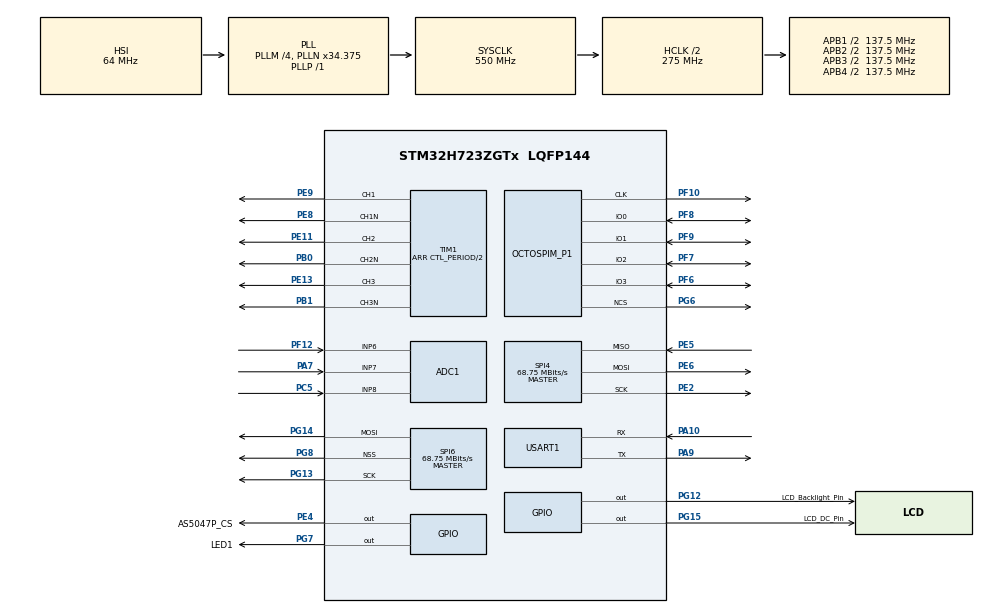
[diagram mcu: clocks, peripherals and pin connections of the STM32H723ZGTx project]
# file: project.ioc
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ADC1.Channel-0\#ChannelRegularConversion=ADC_CHANNEL_6
ADC1.ClockPrescaler=ADC_CLOCK_ASYNC_DIV1
ADC1.EnableInjectedConversion=ENABLE
ADC1.ExternalTrigInjecConv=ADC_EXTERNALTRIGINJEC_T1_CC4
ADC1.ExternalTrigInjecConvEdge=ADC_EXTERNALTRIGINJECCONV_EDGE_FALLING
ADC1.InjNumberOfConversion=3
ADC1.InjectedChannel-1\#ChannelInjectedConversion=ADC_CHANNEL_6
ADC1.InjectedChannel-2\#ChannelInjectedConversion=ADC_CHANNEL_7
ADC1.InjectedChannel-3\#ChannelInjectedConversion=ADC_CHANNEL_8
ADC1.InjectedOffsetNumber-1\#ChannelInjectedConversion=ADC_OFFSET_NONE
ADC1.InjectedOffsetNumber-2\#ChannelInjectedConversion=ADC_OFFSET_NONE
ADC1.InjectedOffsetNumber-3\#ChannelInjectedConversion=ADC_OFFSET_NONE
ADC1.InjectedOffsetSaturation-1\#ChannelInjectedConversion=DISABLE
ADC1.InjectedOffsetSaturation-2\#ChannelInjectedConversion=DISABLE
ADC1.InjectedOffsetSaturation-3\#ChannelInjectedConversion=DISABLE
ADC1.InjectedOffsetSignedSaturation-1\#ChannelInjectedConversion=DISABLE
ADC1.InjectedOffsetSignedSaturation-2\#ChannelInjectedConversion=DISABLE
ADC1.InjectedOffsetSignedSaturation-3\#ChannelInjectedConversion=DISABLE
ADC1.InjectedRank-1\#ChannelInjectedConversion=1
ADC1.InjectedRank-2\#ChannelInjectedConversion=2
ADC1.InjectedRank-3\#ChannelInjectedConversion=3
ADC1.InjectedSamplingTime-1\#ChannelInjectedConversion=ADC_SAMPLETIME_2CYCLES_5
ADC1.InjectedSamplingTime-2\#ChannelInjectedConversion=ADC_SAMPLETIME_2CYCLES_5
ADC1.InjectedSamplingTime-3\#ChannelInjectedConversion=ADC_SAMPLETIME_2CYCLES_5
ADC1.NbrOfConversionFlag=1
ADC1.OffsetNumber-0\#ChannelRegularConversion=ADC_OFFSET_NONE
ADC1.OffsetSignedSaturation-0\#ChannelRegularConversion=DISABLE
ADC1.Rank-0\#ChannelRegularConversion=1
ADC1.SamplingTime-0\#ChannelRegularConversion=ADC_SAMPLETIME_1CYCLE_5
ADC1.master=1
CORTEX_M7.default_mode_Activation=1
Dma.Request0=USART1_RX
Dma.Request1=USART1_TX
Dma.USART1_RX.0.Direction=DMA_PERIPH_TO_MEMORY
Dma.USART1_RX.0.EventEnable=DISABLE
Dma.USART1_RX.0.FIFOMode=DMA_FIFOMODE_ENABLE
Dma.USART1_RX.0.FIFOThreshold=DMA_FIFO_THRESHOLD_FULL
Dma.USART1_RX.0.Instance=DMA1_Stream0
Dma.USART1_RX.0.MemBurst=DMA_MBURST_SINGLE
Dma.USART1_RX.0.MemDataAlignment=DMA_MDATAALIGN_BYTE
Dma.USART1_RX.0.MemInc=DMA_MINC_ENABLE
Dma.USART1_RX.0.Mode=DMA_NORMAL
Dma.USART1_RX.0.PeriphBurst=DMA_PBURST_SINGLE
Dma.USART1_RX.0.PeriphDataAlignment=DMA_PDATAALIGN_BYTE
Dma.USART1_RX.0.PeriphInc=DMA_PINC_DISABLE
Dma.USART1_RX.0.Polarity=HAL_DMAMUX_REQ_GEN_RISING
Dma.USART1_RX.0.Priority=DMA_PRIORITY_LOW
Dma.USART1_RX.0.RequestNumber=1
Dma.USART1_RX.0.SignalID=NONE
Dma.USART1_RX.0.SyncEnable=DISABLE
Dma.USART1_RX.0.SyncPolarity=HAL_DMAMUX_SYNC_NO_EVENT
Dma.USART1_RX.0.SyncRequestNumber=1
Dma.USART1_RX.0.SyncSignalID=NONE
Dma.USART1_TX.1.Direction=DMA_MEMORY_TO_PERIPH
Dma.USART1_TX.1.EventEnable=DISABLE
Dma.USART1_TX.1.FIFOMode=DMA_FIFOMODE_ENABLE
Dma.USART1_TX.1.FIFOThreshold=DMA_FIFO_THRESHOLD_FULL
Dma.USART1_TX.1.Instance=DMA1_Stream1
Dma.USART1_TX.1.MemBurst=DMA_MBURST_SINGLE
Dma.USART1_TX.1.MemDataAlignment=DMA_MDATAALIGN_BYTE
Dma.USART1_TX.1.MemInc=DMA_MINC_ENABLE
Dma.USART1_TX.1.Mode=DMA_NORMAL
Dma.USART1_TX.1.PeriphBurst=DMA_PBURST_SINGLE
Dma.USART1_TX.1.PeriphDataAlignment=DMA_PDATAALIGN_BYTE
Dma.USART1_TX.1.PeriphInc=DMA_PINC_DISABLE
Dma.USART1_TX.1.Polarity=HAL_DMAMUX_REQ_GEN_RISING
Dma.USART1_TX.1.Priority=DMA_PRIORITY_LOW
Dma.USART1_TX.1.RequestNumber=1
Dma.USART1_TX.1.SignalID=NONE
Dma.USART1_TX.1.SyncEnable=DISABLE
Dma.USART1_TX.1.SyncPolarity=HAL_DMAMUX_SYNC_NO_EVENT
Dma.USART1_TX.1.SyncRequestNumber=1
Dma.USART1_TX.1.SyncSignalID=NONE
Mcu.Family=STM32H7
Mcu.Name=STM32H723ZGTx
Mcu.Package=LQFP144
Mcu.UserConstants=CTL_PERIOD,550000000/CTL_FREQUENCY;CTL_FREQUENCY,20000
NVIC.DMA1_Stream0_IRQn=true\:1\:0\:true\:true\:true\:3\:false\:true\:true
NVIC.DMA1_Stream1_IRQn=true\:1\:0\:true\:true\:true\:2\:false\:true\:true
NVIC.PriorityGroup=NVIC_PRIORITYGROUP_4
NVIC.USART1_IRQn=true\:1\:0\:true\:true\:true\:1\:false\:true\:true
OCTOSPI1.ClockMode=HAL_OSPI_CLOCK_MODE_3
OCTOSPI1.ClockPrescaler=2
OCTOSPI1.DeviceSize=23
OCTOSPI1.FifoThreshold=8
OCTOSPI1.SampleShifting=HAL_OSPI_SAMPLE_SHIFTING_HALFCYCLE
PA10.Mode=Asynchronous
PA10.Signal=USART1_RX
PA7.Signal=ADCx_INP7
PA9.Mode=Asynchronous
PA9.Signal=USART1_TX
PB0.Mode=PWM Generation2 CH2 CH2N
PB0.Signal=TIM1_CH2N
PB1.Mode=PWM Generation3 CH3 CH3N
PB1.Signal=TIM1_CH3N
PC5.Signal=ADCx_INP8
PE11.Signal=S_TIM1_CH2
PE13.Signal=S_TIM1_CH3
PE2.Mode=Full_Duplex_Master
PE2.Signal=SPI4_SCK
PE4.GPIO_Label=AS5047P_CS
PE4.Signal=GPIO_Output
PE5.Mode=Full_Duplex_Master
PE5.Signal=SPI4_MISO
PE6.Mode=Full_Duplex_Master
PE6.Signal=SPI4_MOSI
PE8.Mode=PWM Generation1 CH1 CH1N
PE8.Signal=TIM1_CH1N
PE9.Signal=S_TIM1_CH1
PF10.Mode=O1_P1_CLK
PF10.Signal=OCTOSPIM_P1_CLK
PF12.Mode=IN6-Single-Ended
PF12.Signal=ADC1_INP6
PF6.Mode=OCTOSPI1_IOL_Port1L
PF6.Signal=OCTOSPIM_P1_IO3
PF7.Mode=OCTOSPI1_IOL_Port1L
PF7.Signal=OCTOSPIM_P1_IO2
PF8.Mode=OCTOSPI1_IOL_Port1L
PF8.Signal=OCTOSPIM_P1_IO0
PF9.Mode=OCTOSPI1_IOL_Port1L
PF9.Signal=OCTOSPIM_P1_IO1
PG12.GPIO_Label=LCD_Backlight_Pin
PG12.Signal=GPIO_Output
PG13.Mode=TX_Only_Simplex_Unidirect_Master
PG13.Signal=SPI6_SCK
PG14.Mode=TX_Only_Simplex_Unidirect_Master
PG14.Signal=SPI6_MOSI
PG15.GPIO_Label=LCD_DC_Pin
PG15.Signal=GPIO_Output
PG6.Mode=OCTOSPI1_Port1_NCS
PG6.Signal=OCTOSPIM_P1_NCS
PG7.GPIO_Label=LED1
PG7.Signal=GPIO_Output
PG8.Mode=NSS_Signal_Hard_Output
PG8.Signal=SPI6_NSS
PH0-OSC_IN.Mode=HSE-External-Oscillator
PH0-OSC_IN.Signal=RCC_OSC_IN
PH1-OSC_OUT.Mode=HSE-External-Oscillator
PH1-OSC_OUT.Signal=RCC_OSC_OUT
ProjectManager.HeapSize=0x200
ProjectManager.StackSize=0x400
ProjectManager.TargetToolchain=CMake
RCC.ADCFreq_Value=96000000
RCC.APB1Freq_Value=137500000
RCC.APB2Freq_Value=137500000
RCC.APB3Freq_Value=137500000
RCC.APB4Freq_Value=137500000
RCC.CortexFreq_Value=550000000
RCC.D1PPRE=RCC_APB3_DIV2
RCC.D2PPRE1=RCC_APB1_DIV2
RCC.D2PPRE2=RCC_APB2_DIV2
RCC.D3PPRE=RCC_APB4_DIV2
RCC.DIVM1=4
RCC.DIVM2=4
RCC.DIVN1=34
RCC.DIVN2=12
RCC.DIVP1=1
RCC.HCLKFreq_Value=275000000
RCC.HPRE=RCC_HCLK_DIV2
RCC.PLL2FRACN=0
RCC.PLL3FRACN=0
RCC.PLLFRACN=3072
RCC.SYSCLKFreq_VALUE=550000000
RCC.SYSCLKSource=RCC_SYSCLKSOURCE_PLLCLK
RCC.USBFreq_Value=275000000
SH.ADCx_INP7.0=ADC1_INP7,IN7-Single-Ended
SH.ADCx_INP8.0=ADC1_INP8,IN8-Single-Ended
SH.S_TIM1_CH1.0=TIM1_CH1,PWM Generation1 CH1 CH1N
SH.S_TIM1_CH2.0=TIM1_CH2,PWM Generation2 CH2 CH2N
SH.S_TIM1_CH3.0=TIM1_CH3,PWM Generation3 CH3 CH3N
SPI4.CLKPhase=SPI_PHASE_2EDGE
SPI4.CalculateBaudRate=68.75 MBits/s
SPI4.DataSize=SPI_DATASIZE_16BIT
SPI4.Direction=SPI_DIRECTION_2LINES
SPI4.Mode=SPI_MODE_MASTER
SPI4.VirtualType=VM_MASTER
SPI6.CalculateBaudRate=68.75 MBits/s
SPI6.DataSize=SPI_DATASIZE_8BIT
SPI6.Direction=SPI_DIRECTION_2LINES_TXONLY
SPI6.FifoThreshold=SPI_FIFO_THRESHOLD_02DATA
SPI6.Mode=SPI_MODE_MASTER
SPI6.VirtualNSS=VM_NSSHARD
SPI6.VirtualType=VM_MASTER
TIM1.Channel-PWM\ Generation1\ CH1\ CH1N=TIM_CHANNEL_1
TIM1.Channel-PWM\ Generation2\ CH2\ CH2N=TIM_CHANNEL_2
TIM1.Channel-PWM\ Generation3\ CH3\ CH3N=TIM_CHANNEL_3
TIM1.Channel-PWM\ Generation4\ No\ Output=TIM_CHANNEL_4
TIM1.CounterMode=TIM_COUNTERMODE_CENTERALIGNED1
TIM1.Period=CTL_PERIOD/2
USART1.VirtualMode-Asynchronous=VM_ASYNC
VP_OCTOSPI1_VS_quad.Mode=quad_mode
VP_TIM1_VS_no_output4.Mode=PWM Generation4 No Output
board=custom

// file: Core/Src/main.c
/* USER CODE BEGIN Header */
/**
  ******************************************************************************
  * @file           : main.c
  * @brief          : Main program body
  ******************************************************************************
  * @attention
  *
  * Copyright (c) 2024 STMicroelectronics.
  * All rights reserved.
  *
  * This software is licensed under terms that can be found in the LICENSE file
  * in the root directory of this software component.
  * If no LICENSE file comes with this software, it is provided AS-IS.
  *
  ******************************************************************************
  */
/* USER CODE END Header */
#include "main.h"
#include "adc.h"
#include "dma.h"
#include "octospi.h"
#include "spi.h"
#include "tim.h"
#include "usart.h"
#include "gpio.h"

/* USER CODE BEGIN Includes */
#include "lcd_spi200.h"
#include "Hardware/w25q64.h"
#include "config.h"
#include "as5047p.h"

/* USER CODE END Includes */

/* USER CODE BEGIN PD */
#define BUFFER_SIZE 1024
/* USER CODE END PD */

void SystemClock_Config(void);
static void MPU_Config(void);
static void MX_NVIC_Init(void);

/* USER CODE BEGIN 0 */

void HareWareInit(void){
    /*pwm hardware enable*/
    PWM_Init();

    /*lcd hardware init*/
    SPI_LCD_Init();

    /*flash hardware init*/
    OSPI_W25Qxx_Init();

    /*encoder hardware init*/
    as5047p_make_handle(
            &as5047p_spi_send,
            &as5047p_spi_read,
            &as5047p_spi_select,
            &as5047p_spi_deselect,
            &as5047p_delay,
            &as5047p);
    as5047p_config(&as5047p, 0x25, 0x00); // 0b00100101 -> 0x25, 0b00000000 -> 0x00
    as5047p_set_zero(&as5047p,0);
}

void SoftWareInit(void){

    /*lcd test*/
    LCD_SetAsciiFont(&ASCII_Font12);
    LCD_DisplayString(13,13,"Flash Test>>>>>>>>>>>>>>>");

    /* flash test */
    OSPI_W25Qxx_Test();

    /*lcd clear*/
    LCD_Clear();

    /* encoder test;*/
    float angle_deg;
    int8_t error = as5047p_get_angle(&as5047p, without_daec, &angle_deg);

    if (error == 0)
    {
        printf("Angle: %f\r\n", angle_deg);
    }

    // svpwm

    // foc control

    /*read parameter*/

    /*system it enables*/
    HAL_UARTEx_ReceiveToIdle_IT(&huart1,RxBuffer,sizeof(RxBuffer)); /*enable RxIdleIt*/
}

/* USER CODE END 0 */

int main(void)
{

  /* MPU Configuration--------------------------------------------------------*/
  MPU_Config();

  /* MCU Configuration--------------------------------------------------------*/

  /* Reset of all peripherals, Initializes the Flash interface and the Systick. */
  HAL_Init();

  /* Configure the system clock */
  SystemClock_Config();

  /* Initialize all configured peripherals */
  MX_GPIO_Init();
  MX_DMA_Init();
  MX_ADC1_Init();
  MX_OCTOSPI1_Init();
  MX_SPI6_Init();
  MX_USART1_UART_Init();
  MX_TIM1_Init();
  MX_SPI4_Init();

  /* Initialize interrupts */
  MX_NVIC_Init();
  /* USER CODE BEGIN 2 */
    //HAL_UART_Receive_DMA(&huart1, RxBuffer, 1);
    printf("\r\nHareware Init start!>>>>>>>>>>>>>>>>>>>>>>>>>>>>>\r\n");
    HareWareInit();
    printf("\r\nHareware Init ok!>>>>>>>>>>>>>>>>>>>>>>>>>>>>>\r\n");

    printf("\r\nSoftware Init start!>>>>>>>>>>>>>>>>>>>>>>>>>>>>>\r\n");
    SoftWareInit();
    printf("\r\nSoftware Init ok!>>>>>>>>>>>>>>>>>>>>>>>>>>>>>\r\n");

    printf("\r\nApplication Ready!>>>>>>>>>>>>>>>>>>>>>>>>>>>>>\r\n");
  /* USER CODE END 2 */

  /* Infinite loop */
  while (1)
  {

  }
}

void SystemClock_Config(void)
{
  RCC_OscInitTypeDef RCC_OscInitStruct = {0};
  RCC_ClkInitTypeDef RCC_ClkInitStruct = {0};

  /** Supply configuration update enable
  */
  HAL_PWREx_ConfigSupply(PWR_LDO_SUPPLY);

  /** Configure the main internal regulator output voltage
  */
  __HAL_PWR_VOLTAGESCALING_CONFIG(PWR_REGULATOR_VOLTAGE_SCALE0);

  while(!__HAL_PWR_GET_FLAG(PWR_FLAG_VOSRDY)) {}

  /** Initializes the RCC Oscillators according to the specified parameters
  * in the RCC_OscInitTypeDef structure.
  */
  RCC_OscInitStruct.OscillatorType = RCC_OSCILLATORTYPE_HSI;
  RCC_OscInitStruct.HSIState = RCC_HSI_DIV1;
  RCC_OscInitStruct.HSICalibrationValue = 64;
  RCC_OscInitStruct.PLL.PLLState = RCC_PLL_ON;
  RCC_OscInitStruct.PLL.PLLSource = RCC_PLLSOURCE_HSI;
  RCC_OscInitStruct.PLL.PLLM = 4;
  RCC_OscInitStruct.PLL.PLLN = 34;
  RCC_OscInitStruct.PLL.PLLP = 1;
  RCC_OscInitStruct.PLL.PLLQ = 2;
  RCC_OscInitStruct.PLL.PLLR = 2;
  RCC_OscInitStruct.PLL.PLLRGE = RCC_PLL1VCIRANGE_3;
  RCC_OscInitStruct.PLL.PLLVCOSEL = RCC_PLL1VCOWIDE;
  RCC_OscInitStruct.PLL.PLLFRACN = 3072;
  if (HAL_RCC_OscConfig(&RCC_OscInitStruct) != HAL_OK)
  {
    Error_Handler();
  }

  /** Initializes the CPU, AHB and APB buses clocks
  */
  RCC_ClkInitStruct.ClockType = RCC_CLOCKTYPE_HCLK|RCC_CLOCKTYPE_SYSCLK
                              |RCC_CLOCKTYPE_PCLK1|RCC_CLOCKTYPE_PCLK2
                              |RCC_CLOCKTYPE_D3PCLK1|RCC_CLOCKTYPE_D1PCLK1;
  RCC_ClkInitStruct.SYSCLKSource = RCC_SYSCLKSOURCE_PLLCLK;
  RCC_ClkInitStruct.SYSCLKDivider = RCC_SYSCLK_DIV1;
  RCC_ClkInitStruct.AHBCLKDivider = RCC_HCLK_DIV2;
  RCC_ClkInitStruct.APB3CLKDivider = RCC_APB3_DIV2;
  RCC_ClkInitStruct.APB1CLKDivider = RCC_APB1_DIV2;
  RCC_ClkInitStruct.APB2CLKDivider = RCC_APB2_DIV2;
  RCC_ClkInitStruct.APB4CLKDivider = RCC_APB4_DIV2;

  if (HAL_RCC_ClockConfig(&RCC_ClkInitStruct, FLASH_LATENCY_3) != HAL_OK)
  {
    Error_Handler();
  }
}

/**
  * @brief NVIC Configuration.
  * @retval None
  */
static void MX_NVIC_Init(void)
{
  /* USART1_IRQn interrupt configuration */
  HAL_NVIC_SetPriority(USART1_IRQn, 1, 0);
  HAL_NVIC_EnableIRQ(USART1_IRQn);
  /* DMA1_Stream1_IRQn interrupt configuration */
  HAL_NVIC_SetPriority(DMA1_Stream1_IRQn, 1, 0);
  HAL_NVIC_EnableIRQ(DMA1_Stream1_IRQn);
  /* DMA1_Stream0_IRQn interrupt configuration */
  HAL_NVIC_SetPriority(DMA1_Stream0_IRQn, 1, 0);
  HAL_NVIC_EnableIRQ(DMA1_Stream0_IRQn);
}

 /* MPU Configuration */

void MPU_Config(void)
{
  MPU_Region_InitTypeDef MPU_InitStruct = {0};

  /* Disables the MPU */
  HAL_MPU_Disable();

  /** Initializes and configures the Region and the memory to be protected
  */
  MPU_InitStruct.Enable = MPU_REGION_ENABLE;
  MPU_InitStruct.Number = MPU_REGION_NUMBER0;
  MPU_InitStruct.BaseAddress = 0x0;
  MPU_InitStruct.Size = MPU_REGION_SIZE_4GB;
  MPU_InitStruct.SubRegionDisable = 0x87;
  MPU_InitStruct.TypeExtField = MPU_TEX_LEVEL0;
  MPU_InitStruct.AccessPermission = MPU_REGION_NO_ACCESS;
  MPU_InitStruct.DisableExec = MPU_INSTRUCTION_ACCESS_DISABLE;
  MPU_InitStruct.IsShareable = MPU_ACCESS_SHAREABLE;
  MPU_InitStruct.IsCacheable = MPU_ACCESS_NOT_CACHEABLE;
  MPU_InitStruct.IsBufferable = MPU_ACCESS_NOT_BUFFERABLE;

  HAL_MPU_ConfigRegion(&MPU_InitStruct);
  /* Enables the MPU */
  HAL_MPU_Enable(MPU_PRIVILEGED_DEFAULT);

}

void Error_Handler(void)
{
  __disable_irq();
  while (1)
  {
  }
}
